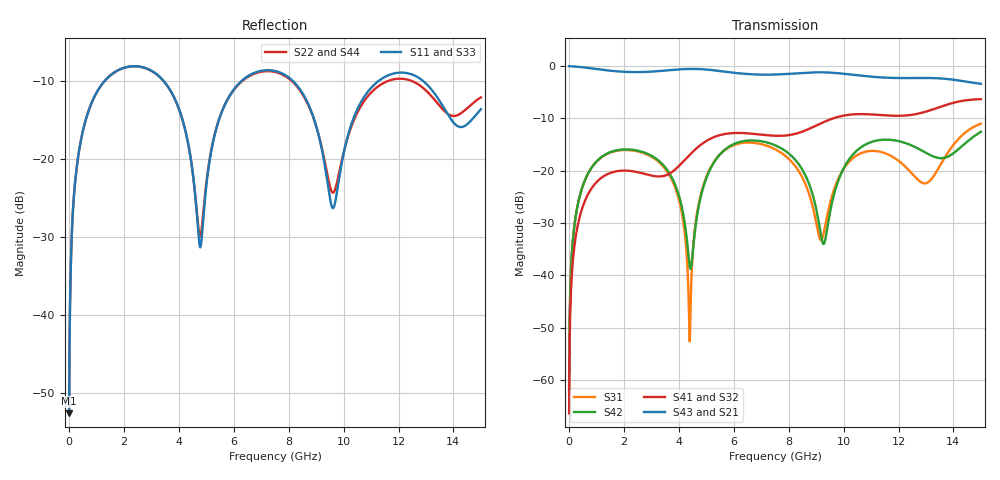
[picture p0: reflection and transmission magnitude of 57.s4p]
! Created with skrf 1.8.0 (http://scikit-rf.org).
# GHz S RI R 50.0
!freq ReS11 ImS11 ReS12 ImS12 ReS13 ImS13
! ReS14 ImS14
! ReS21 ImS21 ReS22 ImS22 ReS23 ImS23
! ReS24 ImS24
! ReS31 ImS31 ReS32 ImS32 ReS33 ImS33
! ReS34 ImS34
! ReS41 ImS41 ReS42 ImS42 ReS43 ImS43
! ReS44 ImS44
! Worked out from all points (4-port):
!   2499 points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, 5 MHz to 15 GHz, reference 50 ohm
!   strongest paths, dB at 5 MHz, 3.476 GHz, 7.19 GHz, 11.1 GHz, 15 GHz:
!     S43: 0.0, -0.9, -1.6, -2.1, -3.4
!     S21: 0.0, -0.9, -1.6, -2.0, -3.4
!     S41: -66.3, -21.0, -13.2, -9.3, -6.3
!     S32: -66.3, -21.0, -13.3, -9.3, -6.3
!     S42: -62.4, -19.2, -14.6, -14.4, -12.6
!     S31: -62.4, -19.5, -15.2, -16.2, -11.0
!   lowest |S11| = -52.6 dB at 5 MHz (marker M1), VSWR 1.00, Z = 50.2 + j0.143 ohm
!   |S11| at or under -10 dB: 3.442 GHz to 6.292 GHz (2.849 GHz wide, 58.5 % of centre); 8.147 GHz to 11.28 GHz (3.136 GHz wide, 32.3 % of centre); 12.89 GHz to end of sweep (the widest 3 of 4)
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0.005  0.00187 0.00142  0.9981 -0.00365  9.53e-05 0.000756  -9.25e-05 -0.000473
       0.9981 -0.00365  0.00187 0.00142  -9.25e-05 -0.000473  9.54e-05 0.000756
       9.53e-05 0.000756  -9.25e-05 -0.000473  0.00187 0.00142  0.9981 -0.00365
       -9.25e-05 -0.000473  9.54e-05 0.000756  0.9981 -0.00365  0.00187 0.00142
0.3126303  0.0302 0.0923  0.9587 -0.2255  0.0141 0.0442  -0.0119 -0.027
           0.9587 -0.2255  0.0301 0.0923  -0.0119 -0.027  0.0145 0.0441
           0.0141 0.0442  -0.0119 -0.027  0.0302 0.0923  0.9587 -0.2255
           -0.0119 -0.027  0.0145 0.0441  0.9587 -0.2255  0.0301 0.0923
1.369321  0.2736 0.176  0.5428 -0.7324  0.1292 0.0638  -0.0918 -0.00506
          0.5428 -0.7324  0.2726 0.1767  -0.0917 -0.00518  0.1323 0.0596
          0.1292 0.0638  -0.0917 -0.00518  0.2737 0.1759  0.5427 -0.7324
          -0.0918 -0.00506  0.1323 0.0596  0.5427 -0.7324  0.2726 0.1767
4.394545  0.0511 -0.0991  -0.8854 -0.3141  -0.00229 -0.000558  -0.0423 0.1355
          -0.8854 -0.3141  0.0553 -0.0959  -0.0439 0.1349  -0.0112 -0.00528
          -0.00229 -0.000558  -0.0439 0.1349  0.0514 -0.0999  -0.8853 -0.3142
          -0.0423 0.1355  -0.0112 -0.00528  -0.8853 -0.3142  0.0556 -0.0967
5.633597  0.1469 0.1555  -0.7755 0.4301  0.1182 0.0995  0.1414 0.1729
          -0.7755 0.4301  0.149 0.1533  0.139 0.1741  0.1232 0.0947
          0.1182 0.0995  0.139 0.1741  0.1472 0.1543  -0.7758 0.4302
          0.1414 0.1729  0.1232 0.0947  -0.7758 0.4302  0.1473 0.1522
9.679033  0.0497 0.0132  0.8559 0.0861  0.00533 0.0691  0.0172 -0.3198
          0.8559 0.0861  0.062 0.0112  0.0254 -0.3192  0.0173 0.0607
          0.00533 0.0691  0.0254 -0.3192  0.0476 0.0182  0.8561 0.0829
          0.0172 -0.3198  0.0173 0.0607  0.8561 0.0829  0.0633 0.0155
15  0.2048 0.0352  -0.6731 0.0853  0.0936 0.2653  0.1172 0.4678
    -0.6731 0.0853  0.247 0.0195  0.1021 0.4719  0.1066 0.2102
    0.0936 0.2653  0.1021 0.4719  0.2029 0.0418  -0.6719 0.0891
    0.1172 0.4678  0.1066 0.2102  -0.6719 0.0891  0.2509 0.0137
